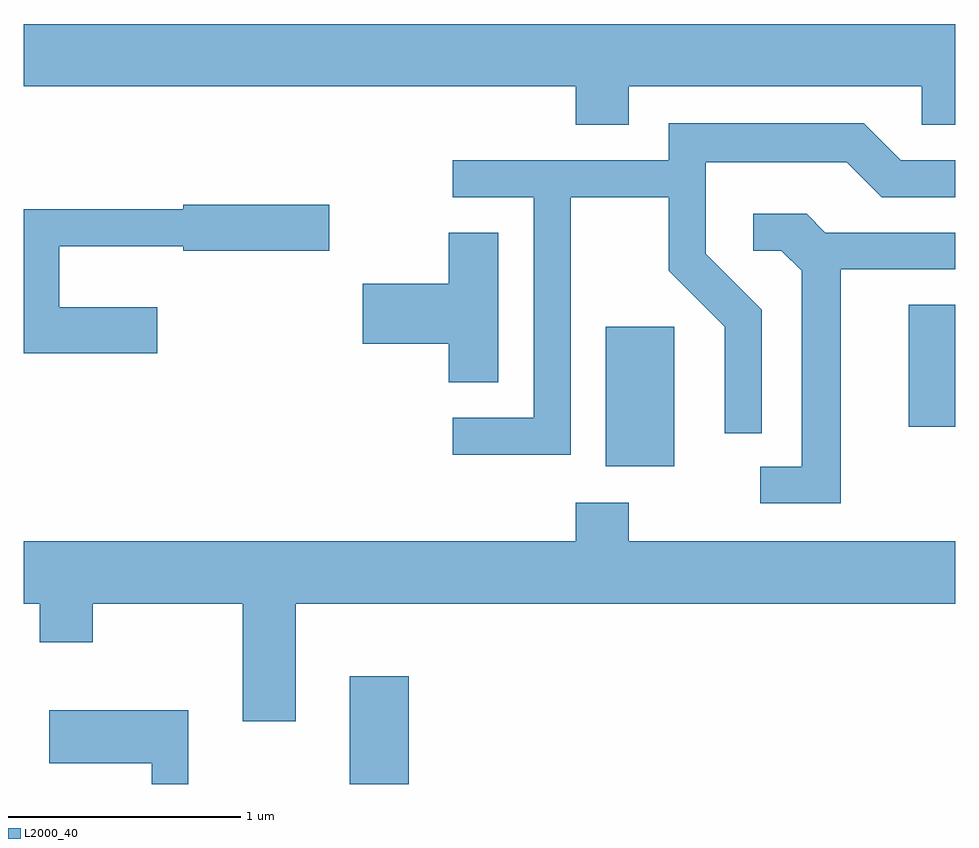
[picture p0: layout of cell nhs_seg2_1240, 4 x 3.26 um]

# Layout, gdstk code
import gdstk
lib = gdstk.Library(unit=1e-6, precision=1e-09)
def R(c, l, rs):  # rectangles x0, y0, x1, y1
    for r in rs: c.add(gdstk.rectangle(r[:2], r[2:], *l))
def P(c, l, *ps):  # polygons
    for p in ps: c.add(gdstk.Polygon(p, *l))
L2000_40 = (2000, 40)

nhs_seg2_1240 = lib.new_cell('nhs_seg2_1240')
R(nhs_seg2_1240, L2000_40, [(223.011,1009.802,223.264,1010.264), (224.111,1011.166,224.404,1011.764), (225.411,1011.336,225.611,1011.859)])
P(nhs_seg2_1240, L2000_40, [(224.209,1012.796),(225.466,1012.796),(225.466,1012.631),(225.611,1012.631),(225.611,1013.064),(221.611,1013.064),(221.611,1012.796),(223.981,1012.796),(223.981,1012.631),(224.209,1012.631)],
  [(223.959,1012.321),(224.381,1012.321),(224.381,1012.004),(224.621,1011.764),(224.621,1011.308),(224.779,1011.308),(224.779,1011.837),(224.539,1012.077),(224.539,1012.471),(225.144,1012.471),(225.294,1012.321),(225.611,1012.321),(225.611,1012.479),(225.377,1012.479),(225.217,1012.639),(224.381,1012.639),(224.381,1012.479),(223.453,1012.479),(223.453,1012.321),(223.801,1012.321),(223.801,1011.374),(223.453,1011.374),(223.453,1011.216),(223.959,1011.216)],
  [(222.184,1011.849),(221.764,1011.849),(221.764,1012.111),(222.296,1012.111),(222.296,1012.091),(222.924,1012.091),(222.924,1012.289),(222.296,1012.289),(222.296,1012.269),(221.611,1012.269),(221.611,1011.651),(222.184,1011.651)],
  [(225.119,1012.011),(225.611,1012.011),(225.611,1012.169),(225.052,1012.169),(224.972,1012.249),(224.743,1012.249),(224.743,1012.091),(224.864,1012.091),(224.951,1012.004),(224.951,1011.164),(224.773,1011.164),(224.773,1011.006),(225.119,1011.006)],
  [(223.649,1012.169),(223.436,1012.169),(223.436,1011.949),(223.066,1011.949),(223.066,1011.691),(223.436,1011.691),(223.436,1011.526),(223.649,1011.526)],
  [(222.779,1010.576),(225.611,1010.576),(225.611,1010.844),(224.209,1010.844),(224.209,1011.009),(223.981,1011.009),(223.981,1010.844),(221.611,1010.844),(221.611,1010.576),(221.681,1010.576),(221.681,1010.411),(221.909,1010.411),(221.909,1010.576),(222.551,1010.576),(222.551,1010.071),(222.779,1010.071)],
  [(222.319,1010.119),(221.721,1010.119),(221.721,1009.891),(222.161,1009.891),(222.161,1009.802),(222.319,1009.802)])

lib.write_gds('nhs_seg2_1240.gds')
